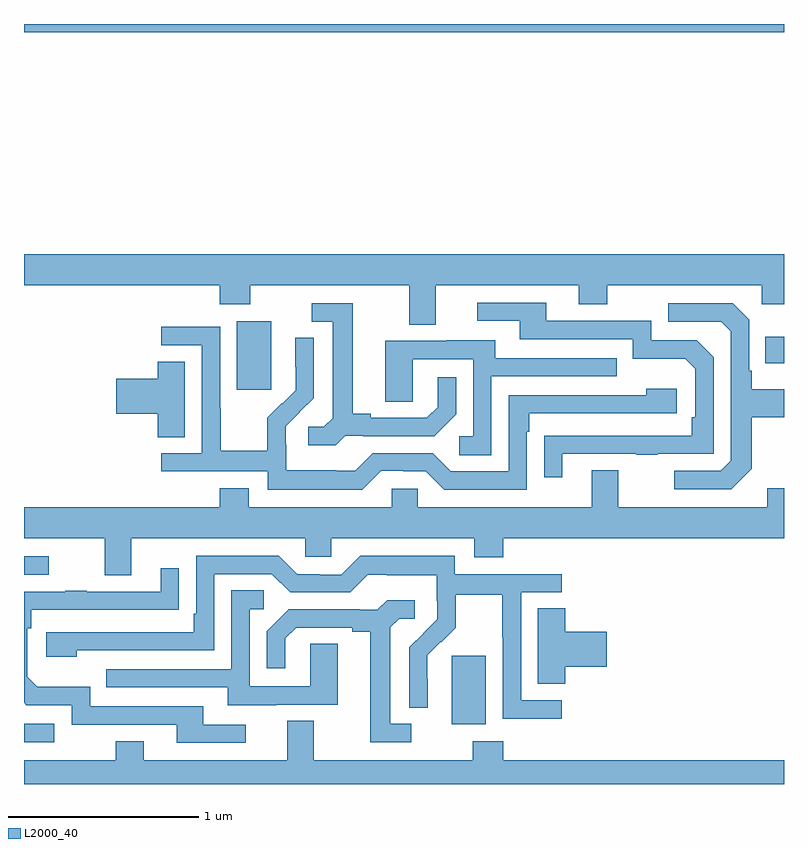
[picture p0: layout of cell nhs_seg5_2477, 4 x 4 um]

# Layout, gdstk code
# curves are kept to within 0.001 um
import gdstk
lib = gdstk.Library(unit=1e-6, precision=1e-09)
def R(c, l, rs):  # rectangles x0, y0, x1, y1
    for r in rs: c.add(gdstk.rectangle(r[:2], r[2:], *l))
def P(c, l, *ps):  # polygons
    for p in ps: c.add(gdstk.Polygon(p, *l))
L2000_40 = (2000, 40)

nhs_seg5_2477 = lib.new_cell('nhs_seg5_2477')
R(nhs_seg5_2477, L2000_40, [(255,857.019,255.16,857.115), (257.252,857.114,257.431,857.475), (255,857.901,255.13,857.997), (256.121,858.873,256.3,859.234), (258.901,859.013,259,859.153), (255,860.756,259,860.799)])
P(nhs_seg5_2477, L2000_40, [(257.167,859.424),(257.921,859.424),(257.921,859.325),(258.069,859.325),(258.069,859.424),(258.882,859.424),(258.882,859.325),(259,859.325),(259,859.588),(255,859.588),(255,859.424),(256.031,859.424),(256.031,859.325),(256.191,859.325),(256.191,859.424),(257.027,859.424),(257.027,859.216),(257.167,859.216)],
  [(257.833,858.537),(258.223,858.537),(258.223,858.532),(258.335,858.532),(258.335,858.537),(258.63,858.537),(258.63,859.044),(258.54,859.134),(258.3,859.134),(258.3,859.236),(257.749,859.236),(257.749,859.332),(257.385,859.332),(257.385,859.236),(257.609,859.236),(257.609,859.14),(258.204,859.14),(258.204,859.037),(258.481,859.037),(258.534,858.984),(258.534,858.73),(258.514,858.73),(258.514,858.633),(257.737,858.632),(257.737,858.414),(257.833,858.414)],
  [(256.692,858.633),(256.786,858.633),(256.786,858.63),(257.158,858.63),(257.274,858.746),(257.274,858.94),(257.177,858.94),(257.177,858.783),(257.12,858.726),(256.825,858.726),(256.825,858.749),(256.729,858.749),(256.729,859.329),(256.515,859.329),(256.515,859.233),(256.625,859.233),(256.625,858.725),(256.578,858.678),(256.497,858.678),(256.497,858.581),(256.64,858.581)],
  [(258.829,858.457),(258.829,858.73),(259,858.73),(259,858.877),(258.829,858.877),(258.829,858.973),(258.816,858.973),(258.816,859.242),(258.729,859.329),(258.392,859.329),(258.392,859.233),(258.669,859.233),(258.72,859.182),(258.72,858.501),(258.666,858.447),(258.423,858.447),(258.423,858.351),(258.723,858.351)],
  [(256.881,858.447),(256.997,858.447),(256.997,858.444),(257.115,858.444),(257.211,858.348),(257.646,858.348),(257.646,858.653),(257.659,858.653),(257.659,858.75),(258.436,858.75),(258.436,858.88),(258.275,858.88),(258.275,858.846),(257.55,858.846),(257.55,858.444),(257.247,858.444),(257.151,858.54),(256.836,858.54),(256.743,858.447),(256.643,858.447),(256.643,858.451),(256.38,858.451),(256.38,858.585),(256.378,858.585),(256.378,858.682),(256.524,858.83),(256.524,859.148),(256.428,859.148),(256.428,858.994),(256.43,858.994),(256.43,858.872),(256.359,858.801),(256.356,858.804),(256.279,858.727),(256.279,858.553),(256.035,858.553),(256.035,858.776),(256.032,858.776),(256.032,859.206),(255.723,859.206),(255.723,859.107),(255.936,859.107),(255.936,858.54),(255.723,858.54),(255.723,858.444),(256.284,858.444),(256.284,858.347),(256.781,858.347)],
  [(257.46,858.945),(258.119,858.945),(258.119,859.041),(257.479,859.041),(257.479,859.135),(257.225,859.135),(257.225,859.131),(256.901,859.131),(256.901,858.811),(257.046,858.811),(257.046,859.035),(257.364,859.035),(257.364,858.63),(257.291,858.63),(257.291,858.529),(257.46,858.529)],
  [(255.847,859.022),(255.704,859.022),(255.704,858.932),(255.486,858.932),(255.486,858.749),(255.704,858.749),(255.704,858.625),(255.847,858.625)],
  [(255.565,858.092),(256.479,858.092),(256.479,857.994),(256.617,857.994),(256.617,858.092),(257.369,858.092),(257.369,857.993),(257.522,857.993),(257.522,858.092),(259,858.092),(259,858.355),(258.911,858.355),(258.911,858.256),(258.127,858.256),(258.127,858.451),(257.987,858.451),(257.987,858.256),(257.073,858.256),(257.073,858.354),(256.935,858.354),(256.935,858.256),(256.183,858.256),(256.183,858.355),(256.031,858.355),(256.031,858.256),(255,858.256),(255,858.092),(255.425,858.092),(255.425,857.898),(255.565,857.898)],
  [(257.83,857.241),(257.616,857.241),(257.616,857.808),(257.83,857.808),(257.83,857.904),(257.268,857.904),(257.268,858.001),(256.771,858.001),(256.671,857.901),(256.556,857.901),(256.556,857.904),(256.437,857.904),(256.341,858),(255.906,858),(255.906,857.695),(255.893,857.695),(255.893,857.598),(255.117,857.598),(255.117,857.468),(255.278,857.468),(255.278,857.502),(256.002,857.502),(256.002,857.904),(256.305,857.904),(256.401,857.808),(256.716,857.808),(256.809,857.901),(256.909,857.901),(256.909,857.897),(257.172,857.897),(257.172,857.763),(257.174,857.763),(257.174,857.666),(257.028,857.518),(257.028,857.2),(257.124,857.2),(257.123,857.477),(257.193,857.547),(257.196,857.544),(257.273,857.621),(257.273,857.796),(257.517,857.796),(257.517,857.572),(257.52,857.572),(257.52,857.143),(257.83,857.143)],
  [(256.168,857.112),(255.943,857.112),(255.943,857.208),(255.348,857.208),(255.348,857.311),(255.071,857.311),(255.018,857.364),(255.018,857.618),(255.038,857.618),(255.038,857.715),(255.815,857.716),(255.815,857.935),(255.719,857.935),(255.719,857.811),(255.329,857.811),(255.329,857.816),(255.217,857.816),(255.217,857.811),(255,857.811),(255,857.226),(255.012,857.214),(255.252,857.214),(255.252,857.112),(255.803,857.112),(255.803,857.016),(256.168,857.016)],
  [(256.327,857.217),(256.651,857.217),(256.651,857.537),(256.506,857.537),(256.506,857.313),(256.188,857.313),(256.188,857.718),(256.261,857.718),(256.261,857.819),(256.092,857.819),(256.092,857.403),(255.433,857.403),(255.433,857.307),(256.073,857.307),(256.073,857.213),(256.327,857.213)],
  [(257.038,857.115),(256.927,857.115),(256.927,857.623),(256.974,857.67),(257.056,857.67),(257.056,857.767),(256.912,857.767),(256.86,857.715),(256.766,857.715),(256.766,857.718),(256.394,857.718),(256.278,857.602),(256.278,857.409),(256.375,857.409),(256.375,857.565),(256.432,857.622),(256.727,857.622),(256.727,857.6),(256.823,857.6),(256.823,857.019),(257.038,857.019)],
  [(257.849,857.417),(258.067,857.417),(258.067,857.6),(257.849,857.6),(257.849,857.723),(257.705,857.723),(257.705,857.326),(257.849,857.326)],
  [(259,856.924),(257.522,856.924),(257.522,857.023),(257.362,857.023),(257.362,856.924),(256.525,856.924),(256.525,857.132),(256.385,857.132),(256.385,856.924),(255.631,856.924),(255.631,857.023),(255.484,857.023),(255.484,856.924),(255,856.924),(255,856.799),(259,856.799)])

lib.write_gds('nhs_seg5_2477.gds')
